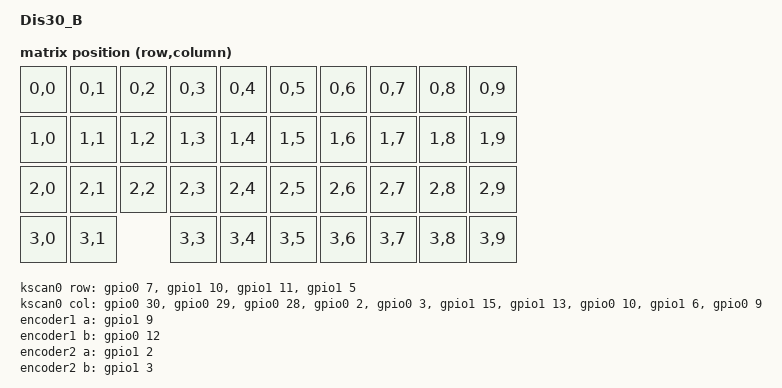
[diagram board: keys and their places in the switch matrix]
/*
 * Copyright (c) 2021 Nick Winans
 *
 * SPDX-License-Identifier: MIT
 */

/dts-v1/;
#include <nordic/nrf52840_qiaa.dtsi>
#include <dt-bindings/zmk/matrix_transform.h>
#include <dt-bindings/led/led.h>
#include "dis30-layout.dtsi"

/ {
	model = "Dis30_B";
	compatible = "dis30,b";

	chosen {
        zephyr,display = &oled;
		zephyr,code-partition = &code_partition;
		zephyr,sram = &sram0;
		zephyr,flash = &flash0;
		zmk,kscan = &kscan0;
        zmk,underglow = &led_strip;
		zephyr,console = &cdc_acm_uart;
		zmk,battery = &vbatt;
        zmk,physical-layout = &physical_layout0;
	};

	dis_all_transform: dis_all_transform {
		compatible = "zmk,matrix-transform";
		columns = <12>;
		rows = <4>;
        map = <
            RC(0,0) RC(0,1) RC(0,2) RC(0,3) RC(0,4) RC(0,5) RC(0,6) RC(0,7) RC(0,8) RC(0,9)
            RC(1,0) RC(1,1) RC(1,2) RC(1,3) RC(1,4) RC(1,5) RC(1,6) RC(1,7) RC(1,8) RC(1,9)
            RC(2,0) RC(2,1) RC(2,2) RC(2,3) RC(2,4) RC(2,5) RC(2,6) RC(2,7) RC(2,8) RC(2,9)
            RC(3,0) RC(3,1)         RC(3,3) RC(3,4) RC(3,5) RC(3,6) RC(3,7) RC(3,8) RC(3,9)
        >;
    };

	kscan0: kscan {
		compatible = "zmk,kscan-gpio-matrix";
        wakeup-source;
        label = "KSCAN";
		diode-direction = "col2row";
		row-gpios
			= <&gpio0 7  (GPIO_ACTIVE_HIGH | GPIO_PULL_DOWN)> // row 0
			, <&gpio1 10  (GPIO_ACTIVE_HIGH | GPIO_PULL_DOWN)> // row 1
			, <&gpio1 11 (GPIO_ACTIVE_HIGH | GPIO_PULL_DOWN)> // row 2
			, <&gpio1 5 (GPIO_ACTIVE_HIGH | GPIO_PULL_DOWN)> // row 3
			;
		col-gpios
			= <&gpio0 30  GPIO_ACTIVE_HIGH> // col 0
			, <&gpio0 29  GPIO_ACTIVE_HIGH> // col 1
			, <&gpio0 28 GPIO_ACTIVE_HIGH> // col 2
			, <&gpio0 2 GPIO_ACTIVE_HIGH> // col 3
			, <&gpio0 3 GPIO_ACTIVE_HIGH> // col 4
			, <&gpio1 15 GPIO_ACTIVE_HIGH> // col 5
			, <&gpio1 13  GPIO_ACTIVE_HIGH> // col 6
			, <&gpio0 10  GPIO_ACTIVE_HIGH> // col 7
			, <&gpio1 6  GPIO_ACTIVE_HIGH> // col 8
			, <&gpio0 9 GPIO_ACTIVE_HIGH> // col 9
			;
	};

    aliases {
		led-caps = &gpio_led_caps;
		led-usb = &gpio_led_usb;
		led-ble-0 = &gpio_led_ble_0;
        led-ble-1 = &gpio_led_ble_1;
        led-ble-2 = &gpio_led_ble_2;
    };

    leds {
        compatible = "gpio-leds";
        status = "okay";
        gpio_led_caps: led_caps {
            // gpios = <&gpio0 5 (GPIO_ACTIVE_HIGH)>;
            gpios = <&gpio0 16 (GPIO_ACTIVE_HIGH)>;
        };
        gpio_led_usb: led_usb {
            // gpios = <&gpio0 26 (GPIO_ACTIVE_HIGH)>;
            gpios = <&gpio0 13 (GPIO_ACTIVE_HIGH)>;
        };
        gpio_led_ble_0: led_ble_0 {
            gpios = <&gpio0 24 (GPIO_ACTIVE_HIGH)>;
        };
        gpio_led_ble_1: led_ble_1 {
            gpios = <&gpio0 20 (GPIO_ACTIVE_HIGH)>;
        };
        gpio_led_ble_2: led_ble_2 {
            gpios = <&gpio1 14 (GPIO_ACTIVE_HIGH)>;
        };
    };

	sensors { 
		compatible = "zmk,keymap-sensors";
		sensors = <&encoder1 &encoder2>;
	};

    encoder1: encoder1 {
        compatible = "alps,ec11";
        label = "ENCODER 1";
        a-gpios = <&gpio1 9 (GPIO_ACTIVE_HIGH | GPIO_PULL_UP)>;
        b-gpios = <&gpio0 12  (GPIO_ACTIVE_HIGH | GPIO_PULL_UP)>;
        resolution = <4>;
    };

    encoder2: encoder2 {
        compatible = "alps,ec11";
        label = "ENCODER 2";
        a-gpios = <&gpio1 2 (GPIO_ACTIVE_HIGH | GPIO_PULL_UP)>;
        b-gpios = <&gpio1 3  (GPIO_ACTIVE_HIGH | GPIO_PULL_UP)>;
        resolution = <4>;
    };

	ext-power {
		compatible = "zmk,ext-power-generic";
		label = "EXT_POWER";
		control-gpios = <&gpio0 4 GPIO_ACTIVE_HIGH>;
	};

	vbatt: vbatt {
		compatible = "zmk,battery-voltage-divider";
		label = "BATTERY";
		io-channels = <&adc 7>;
		output-ohms = <2000000>;
		full-ohms = <(2000000 + 820000)>;
	};
};

&adc {
	status = "okay";
};

&gpio0 {
	status = "okay";
};

&gpio1 {
	status = "okay";
};

&usbd {
	status = "okay";
	cdc_acm_uart: cdc_acm_uart {
		compatible = "zephyr,cdc-acm-uart";
		label = "CDC_ACM_0";
	};
};

&i2c0 {
    compatible = "nordic,nrf-twi";
    pinctrl-0 = <&i2c0_default>;
    pinctrl-1 = <&i2c0_sleep>;
    pinctrl-names = "default", "sleep";
    status = "okay";

    oled: ssd1306@3c {
        compatible = "solomon,ssd1306fb";
        reg = <0x3c>;
        width = <128>;
        height = <32>;
        segment-offset = <0>;
        page-offset = <0>;
        display-offset = <0>;
        multiplex-ratio = <31>;
        segment-remap;
        com-invdir;
        com-sequential;
        inversion-on;
        prechargep = <0x22>;
    };
};

&spi3 {
    compatible = "nordic,nrf-spim";
    status = "okay";
    pinctrl-0 = <&spi3_default>;
    pinctrl-1 = <&spi3_sleep>;
    pinctrl-names = "default", "sleep";

    led_strip: ws2812@0 {
        compatible = "worldsemi,ws2812-spi";

        /* SPI */
        reg = <0>; /* ignored, but necessary for SPI bindings */
        spi-max-frequency = <4000000>;

        /* WS2812 */
        chain-length = <20>; /* number of LEDs */
        spi-one-frame = <0x70>;
        spi-zero-frame = <0x40>;
        color-mapping = <LED_COLOR_ID_GREEN
                         LED_COLOR_ID_RED
                         LED_COLOR_ID_BLUE>;
    };
};

zephyr_udc0: &usbd {
    status = "okay";
};

&pinctrl {
    spi3_default: spi3_default {
        group1 {
            psels = <NRF_PSEL(SPIM_MOSI, 0, 5)>;
        };
    };

    spi3_sleep: spi3_sleep {
        group1 {
            psels = <NRF_PSEL(SPIM_MOSI, 0, 5)>;
            low-power-enable;
        };
    };
    i2c0_default: i2c0_default {
        group1 {
            psels = <NRF_PSEL(TWIM_SDA, 0, 15)>,
                <NRF_PSEL(TWIM_SCL, 0, 17)>;
        };
    };

    i2c0_sleep: i2c0_sleep {
        group1 {
            psels = <NRF_PSEL(TWIM_SDA, 0, 15)>,
                <NRF_PSEL(TWIM_SCL, 0, 17)>;
            low-power-enable;
        };
    };
};

&flash0 {
	/*
	 * For more information, see:
	 * http://docs.zephyrproject.org/latest/devices/dts/flash_partitions.html
	 */
	partitions {
		compatible = "fixed-partitions";
		#address-cells = <1>;
		#size-cells = <1>;

		sd_partition: partition@0 {
			label = "mbr";
			reg = <0x00000000 0x00001000>;
		};

		code_partition: partition@1000 {
			label = "code_partition";
			reg = <0x00001000 0x000d3000>;
		};

		/*
		 * The flash starting at 0x000d4000 and ending at
		 * 0x000f3fff is reserved for use by the application.
		 */

		/*
		 * Storage partition will be used by FCB/LittleFS/NVS
		 * if enabled.
		 */
		storage_partition: partition@d4000 {
			label = "storage";
			reg = <0x000d4000 0x00020000>;
		};

		boot_partition: partition@f4000 {
			label = "adafruit_boot";
			reg = <0x000f4000 0x0000c000>;
		};
	};
};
